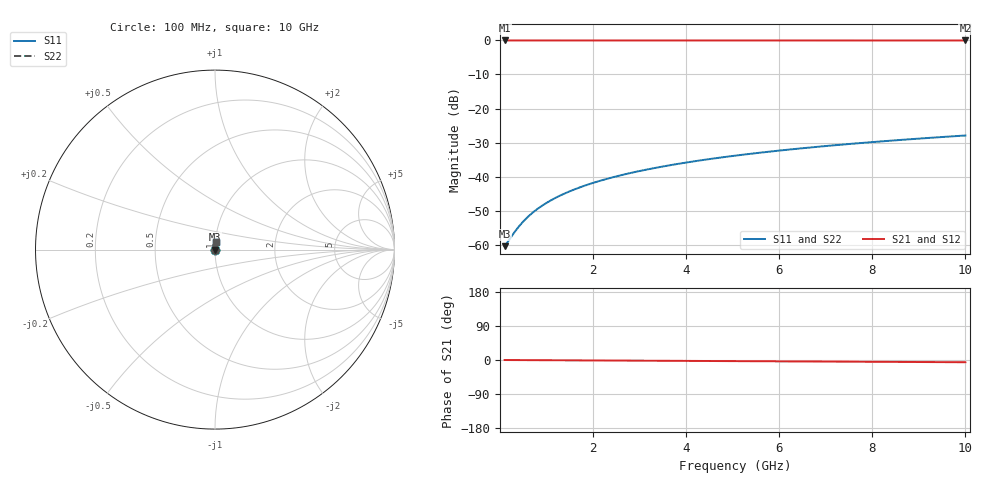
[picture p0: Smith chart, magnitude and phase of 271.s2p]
# Hz S RI R 50.00
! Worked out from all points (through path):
!   100 points, 100 MHz to 10 GHz, reference 50 ohm
!   highest |S21| = -0.01 dB at 100 MHz (marker M1); lowest = 0.0 dB at 10 GHz (marker M2)
!   lowest |S11| = -60.4 dB at 100 MHz (marker M3), VSWR 1.00, Z = 50.1 + j0.0401 ohm
!   |S11| at or under -10 dB: start of sweep to end of sweep
!   |S22| runs from -60.4 to -27.9 dB; largest |S21 - S12| = 1e-14
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1e8  0.000862 0.0004  0.9991 -0.00103  0.9991 -0.00103  0.000862 0.0004
3e8  0.000875 0.0012  0.9991 -0.00308  0.9991 -0.00308  0.000875 0.0012
4e8  0.000881 0.0016  0.9991 -0.00411  0.9991 -0.00411  0.000881 0.0016
5e8  0.000887 0.002  0.9991 -0.00514  0.9991 -0.00514  0.000887 0.002
6e8  0.000894 0.0024  0.9991 -0.00616  0.9991 -0.00616  0.000894 0.0024
7e8  0.000901 0.0028  0.9991 -0.00719  0.9991 -0.00719  0.000901 0.0028
8e8  0.000909 0.0032  0.9991 -0.00822  0.9991 -0.00822  0.000909 0.0032
1e9  0.000928 0.004  0.999 -0.0103  0.999 -0.0103  0.000928 0.004
1.2e9  0.000949 0.0048  0.999 -0.0123  0.999 -0.0123  0.000949 0.0048
1.5e9  0.000986 0.006  0.999 -0.0154  0.999 -0.0154  0.000986 0.006
1.8e9  0.00103 0.0072  0.9989 -0.0185  0.9989 -0.0185  0.00103 0.0072
2.1e9  0.00108 0.0084  0.9988 -0.0216  0.9988 -0.0216  0.00108 0.0084
2.5e9  0.00116 0.01  0.9987 -0.0257  0.9987 -0.0257  0.00116 0.01
2.9e9  0.00125 0.0116  0.9986 -0.0298  0.9986 -0.0298  0.00125 0.0116
3.4e9  0.00139 0.0136  0.9984 -0.0349  0.9984 -0.0349  0.00139 0.0136
4.2e9  0.00164 0.0168  0.998 -0.0432  0.998 -0.0432  0.00164 0.0168
5.1e9  0.00199 0.0204  0.9975 -0.0524  0.9975 -0.0524  0.00199 0.0204
5.9e9  0.00236 0.0236  0.9969 -0.0607  0.9969 -0.0607  0.00236 0.0236
6.7e9  0.00278 0.0267  0.9963 -0.0689  0.9963 -0.0689  0.00278 0.0267
7.5e9  0.00326 0.0299  0.9956 -0.0771  0.9956 -0.0771  0.00326 0.0299
8.4e9  0.00385 0.0335  0.9947 -0.0864  0.9947 -0.0864  0.00385 0.0335
1e10  0.00508 0.0398  0.9929 -0.1028  0.9929 -0.1028  0.00508 0.0398
